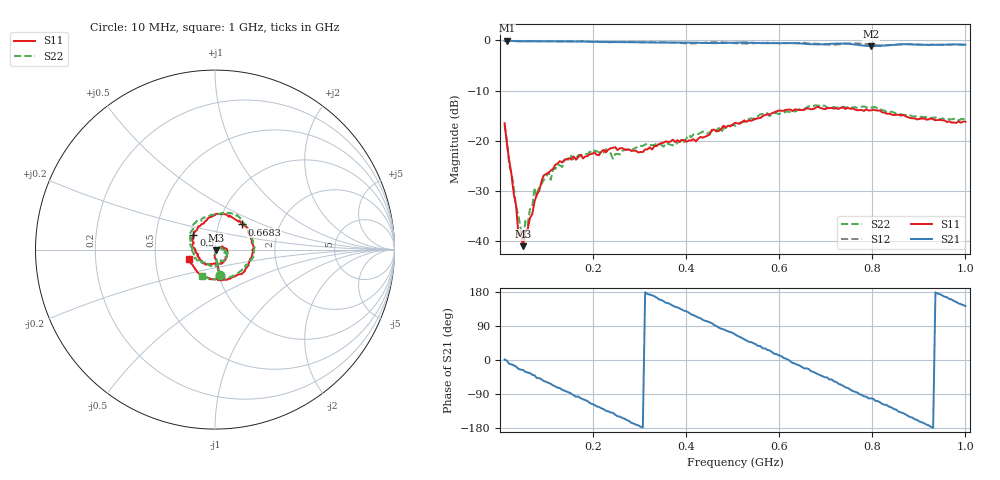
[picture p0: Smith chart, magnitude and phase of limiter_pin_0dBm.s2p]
#  HZ  S  DB  R  50.0
! Rohde & Schwarz ZVL
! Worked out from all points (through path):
!   201 points, 10 MHz to 1 GHz, reference 50 ohm
!   highest |S21| = -0.06 dB at 14.95 MHz (marker M1); lowest = -1.2 dB at 797 MHz (marker M2)
!   group delay of S21, straight-line fit = 1.61 ns
!   lowest |S11| = -40.9 dB at 49.6 MHz (marker M3), VSWR 1.02, Z = 50.8 - j0.407 ohm
!   |S11| at or under -10 dB: start of sweep to end of sweep
!   |S22| runs from -40.2 to -12.8 dB; largest |S21 - S12| = 0.081
!   S11 on the Smith chart (normalised r, x): 10 MHz: 1.01, -0.31; 500.1 MHz: 0.78, +0.13; 668.4 MHz: 1.29, +0.38; 1 GHz: 0.74, -0.08
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1e7  -16.47 -79.3  -0.10 1.3  -0.06 1.7  -16.83 -78.5
1.495e7  -20.55 -80.3  -0.06 -2.0  -0.00 -2.2  -19.91 -82.7
3.475e7  -32.89 -82.6  -0.15 -17.7  -0.13 -16.8  -33.25 -88.4
3.97e7  -38.70 -58.3  -0.16 -23.3  -0.18 -20.2  -34.77 -64.2
4.96e7  -40.94 -26.5  -0.17 -26.3  -0.16 -27.5  -40.16 -0.8
7.435e7  -32.08 19.0  -0.16 -40.4  -0.13 -45.1  -29.28 19.2
7.93e7  -30.65 28.6  -0.16 -47.6  -0.16 -44.0  -31.12 30.3
9.415e7  -26.85 24.0  -0.16 -55.6  -0.17 -55.9  -27.77 12.4
1.783e8  -23.48 -17.6  -0.23 -103.6  -0.16 -105.1  -22.75 -24.9
2.5255e8  -21.81 -64.9  -0.35 -148.6  -0.31 -147.9  -22.59 -67.4
3.4165e8  -20.64 -117.7  -0.41 160.1  -0.38 160.3  -20.57 -111.3
4.4065e8  -19.16 -177.0  -0.50 103.4  -0.44 104.9  -18.27 -159.1
5.0005e8  -16.77 145.9  -0.47 71.3  -0.54 66.5  -16.77 164.8
5.05e8  -16.38 138.3  -0.45 67.7  -0.57 65.8  -16.98 159.8
5.8915e8  -14.31 89.7  -0.55 16.4  -0.50 19.6  -14.42 110.0
6.6835e8  -13.71 42.7  -0.75 -29.8  -0.59 -28.4  -13.11 68.1
6.733e8  -13.65 40.7  -0.76 -31.2  -0.62 -31.7  -13.07 63.9
7.426e8  -13.65 -0.9  -0.63 -72.4  -0.61 -70.9  -13.38 23.2
7.9705e8  -13.93 -33.3  -1.16 -101.2  -0.83 -103.2  -13.37 -8.3
8.3665e8  -14.57 -52.4  -0.95 -123.6  -0.96 -123.4  -14.29 -29.5
9.1585e8  -15.76 -99.8  -0.88 -170.3  -0.83 -170.5  -15.26 -73.5
1e9  -16.18 -160.4  -0.85 142.2  -0.85 141.2  -15.74 -116.9
